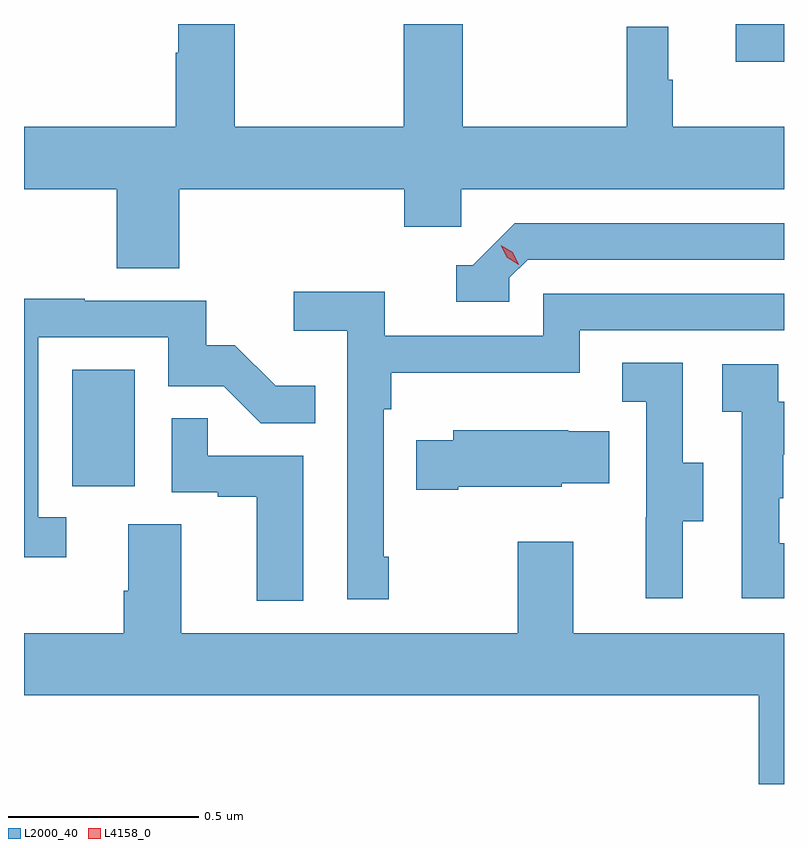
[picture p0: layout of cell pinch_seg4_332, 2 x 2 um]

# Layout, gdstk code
import gdstk
lib = gdstk.Library(unit=1e-6, precision=1e-09)
def R(c, l, rs):  # rectangles x0, y0, x1, y1
    for r in rs: c.add(gdstk.rectangle(r[:2], r[2:], *l))
def P(c, l, *ps):  # polygons
    for p in ps: c.add(gdstk.Polygon(p, *l))
L2000_40 = (2000, 40)
L4158_0 = (4158, 0)

pinch_seg4_332 = lib.new_cell('pinch_seg4_332')
R(pinch_seg4_332, L2000_40, [(905.468,801.366,905.632,801.673), (907.214,802.484,907.341,802.583)])
P(pinch_seg4_332, L2000_40, [(905.75,802.148),(906.341,802.148),(906.341,802.05),(906.492,802.05),(906.492,802.148),(907.341,802.148),(907.341,802.312),(907.048,802.312),(907.048,802.436),(907.036,802.436),(907.036,802.576),(906.927,802.576),(906.927,802.312),(906.495,802.312),(906.495,802.583),(906.34,802.583),(906.34,802.312),(905.895,802.312),(905.895,802.583),(905.747,802.583),(905.747,802.508),(905.74,802.508),(905.74,802.312),(905.341,802.312),(905.341,802.148),(905.585,802.148),(905.585,801.94),(905.75,801.94)],
  [(906.618,801.915),(906.666,801.963),(907.341,801.963),(907.341,802.059),(906.633,802.059),(906.522,801.948),(906.479,801.948),(906.479,801.852),(906.618,801.852)],
  [(906.301,801.181),(906.288,801.181),(906.288,801.569),(906.308,801.569),(906.308,801.665),(906.804,801.665),(906.804,801.777),(907.341,801.777),(907.341,801.873),(906.708,801.873),(906.708,801.762),(906.29,801.762),(906.29,801.878),(906.051,801.878),(906.051,801.776),(906.192,801.776),(906.192,801.069),(906.301,801.069)],
  [(905.452,801.285),(905.379,801.285),(905.379,801.759),(905.721,801.759),(905.721,801.63),(905.866,801.63),(905.964,801.532),(906.107,801.532),(906.107,801.631),(906.003,801.631),(905.896,801.738),(905.82,801.738),(905.82,801.855),(905.501,801.855),(905.501,801.86),(905.341,801.86),(905.341,801.18),(905.452,801.18)],
  [(907.075,801.274),(907.129,801.274),(907.129,801.429),(907.074,801.429),(907.074,801.692),(906.915,801.692),(906.915,801.589),(906.978,801.589),(906.978,801.285),(906.977,801.285),(906.977,801.072),(907.075,801.072)],
  [(907.341,801.216),(907.329,801.216),(907.329,801.335),(907.339,801.335),(907.339,801.449),(907.341,801.449),(907.341,801.589),(907.326,801.589),(907.326,801.687),(907.179,801.687),(907.179,801.563),(907.23,801.563),(907.23,801.072),(907.341,801.072)],
  [(906.076,801.447),(905.825,801.447),(905.825,801.545),(905.73,801.545),(905.73,801.351),(905.851,801.351),(905.851,801.339),(905.954,801.339),(905.954,801.065),(906.076,801.065)],
  [(906.484,801.365),(906.756,801.365),(906.756,801.374),(906.881,801.374),(906.881,801.511),(906.773,801.511),(906.773,801.514),(906.471,801.514),(906.471,801.487),(906.373,801.487),(906.373,801.358),(906.484,801.358)],
  [(907.341,800.98),(906.787,800.98),(906.787,801.22),(906.64,801.22),(906.64,800.98),(905.755,800.98),(905.755,801.266),(905.615,801.266),(905.615,801.092),(905.603,801.092),(905.603,800.98),(905.341,800.98),(905.341,800.816),(907.274,800.816),(907.274,800.583),(907.341,800.583)])
P(pinch_seg4_332, L4158_0, [(906.643,801.95),(906.612,801.969),(906.595,802.001),(906.595,802.001),(906.596,802.001),(906.627,801.982),(906.643,801.95),(906.643,801.95)])

lib.write_gds('pinch_seg4_332.gds')
